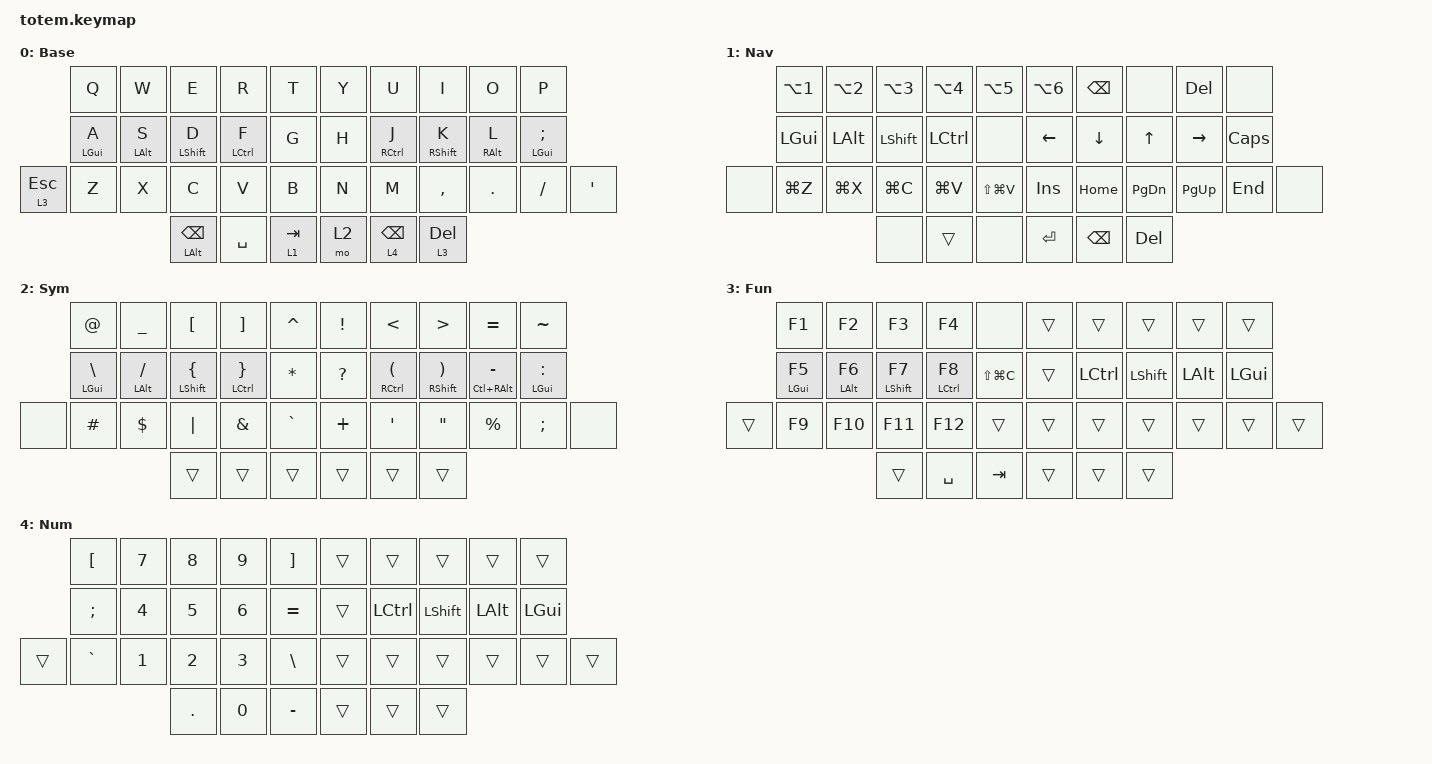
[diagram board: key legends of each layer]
//
//
//                                                        ▀▀▀▀▀     ▀▀▀▀▀          ▀▀█▀▀
//                                                        ▄▀▀▀▄  ▄  ▄▀▀▀▄  ▄  ▄▀▀▀▄  █  ▄▀▀▀▄
//                                                        █   █  █  █   █  █  █   █  █  █   █
//                                                         ▀▀▀   █   ▀▀▀   █   ▀▀▀   ▀   ▀▀▀
//                                                               █      ▄▄▄█▄▄▄    █   █
//                                                               ▀      █  █  █     █▄█
//                                                             ▀▀▀▀▀    █  █  █      ▀
//                                                                      ▀  ▀  ▀
//
// ▄▄▄▄▄▄▄▄▄▄▄▄▄▄▄▄▄▄▄▄▄▄▄▄▄▄▄▄▄▄▄▄▄▄▄▄▄▄▄▄▄▄▄▄▄▄▄▄▄▄▄▄▄▄▄▄▄▄▄▄▄▄▄▄▄▄▄▄▄▄▄▄▄▄▄▄▄▄▄▄▄▄▄▄▄▄▄▄▄▄▄▄▄▄▄▄▄▄▄▄▄▄▄▄▄▄▄▄▄▄▄▄▄▄▄▄▄▄▄▄▄▄▄▄▄▄▄▄▄▄▄▄▄▄▄▄▄▄▄▄▄▄▄▄▄▄▄▄▄

#include <behaviors.dtsi>
#include <dt-bindings/zmk/keys.h>

#define Base        0
#define Nav         1
#define Sym         2
#define Fun         3
#define Num         4

&mt {
    quick-tap-ms = <100>;
    global-quick-tap;
    flavor = "tap-preferred";
    tapping-term-ms = <170>;
};

&lt {
    tapping-term-ms = <240>;
    flavor = "balanced";
    quick-tap-ms = <150>;
};

/ {
    behaviors {
        hm: homerow_mods {
            compatible = "zmk,behavior-hold-tap";
            label = "HOMEROW_MODS";
            #binding-cells = <2>;
            flavor = "tap-preferred";
            tapping-term-ms = <200>;
            quick-tap-ms = <125>;
            global-quick-tap;
            bindings = <&kp>, <&kp>;
        };
    };

    combos {
        compatible = "zmk,combos";

        enter-combo {
            bindings = <&kp ENTER>;
            key-positions = <23 24>;
            layers = <0>;
        };
    };

    keymap {
        compatible = "zmk,keymap";

        Base {
            display-name = "Base";
            bindings = <
              &kp Q       &kp W       &kp E                   &kp R        &kp T        &kp Y  &kp U            &kp I              &kp O       &kp P
              &hm LGUI A  &hm LALT S  &hm LEFT_SHIFT D        &hm LCTRL F  &kp G        &kp H  &hm RCTRL J      &hm RIGHT_SHIFT K  &hm RALT L  &hm LEFT_GUI SEMICOLON
&lt 3 ESCAPE  &kp Z       &kp X       &kp C                   &kp V        &kp B        &kp N  &kp M            &kp COMMA          &kp DOT     &kp SLASH               &kp APOSTROPHE
                                      &mt LEFT_ALT BACKSPACE  &kp SPACE    &lt 1 TAB    &mo 2  &lt 4 BACKSPACE  &lt 3 DELETE
            >;
        };

        Nav {
            display-name = "Nav";
            bindings = <
       &kp LA(NUMBER_1)  &kp LA(N2)    &kp LA(N3)  &kp LA(N4)  &kp LA(N5)       &kp LA(N6)      &kp BACKSPACE   &none          &kp DELETE       &none
       &kp LGUI          &kp LEFT_ALT  &kp LSHIFT  &kp LCTRL   &none            &kp LEFT_ARROW  &kp DOWN_ARROW  &kp UP_ARROW   &kp RIGHT_ARROW  &kp CAPSLOCK
&none  &kp LG(Z)         &kp LG(X)     &kp LG(C)   &kp LG(V)   &kp LS(LG(V))    &kp INSERT      &kp HOME        &kp PAGE_DOWN  &kp PAGE_UP      &kp END       &none
                                       &none       &trans      &none            &kp ENTER       &kp BACKSPACE   &kp DELETE
            >;
        };

        Sym {
            display-name = "Sym";
            bindings = <
       &kp AT              &kp UNDERSCORE      &kp LBKT                   &kp RBKT               &kp CARET       &kp EXCLAMATION  &kp LESS_THAN               &kp GREATER_THAN                   &kp EQUAL                &kp TILDE
       &hm LGUI BACKSLASH  &hm LEFT_ALT SLASH  &hm LEFT_SHIFT LEFT_BRACE  &hm LCTRL RIGHT_BRACE  &kp ASTERISK    &kp QUESTION     &hm RCTRL LEFT_PARENTHESIS  &hm RIGHT_SHIFT RIGHT_PARENTHESIS  &hm LC(RIGHT_ALT) MINUS  &hm LGUI COLON
&none  &kp HASH            &kp DOLLAR          &kp PIPE                   &kp AMPERSAND          &kp GRAVE       &kp PLUS         &kp SQT                     &kp DOUBLE_QUOTES                  &kp PERCENT              &kp SEMICOLON   &none
                                               &trans                     &trans                 &trans          &trans           &trans                      &trans
            >;
        };

        Fun {
            display-name = "Fun";
            bindings = <
        &kp F1       &kp F2           &kp F3             &kp F4        &none            &trans  &trans     &trans          &trans        &trans
        &hm LGUI F5  &hm LEFT_ALT F6  &hm LEFT_SHIFT F7  &hm LCTRL F8  &kp LS(LG(C))    &trans  &kp LCTRL  &kp LEFT_SHIFT  &kp LEFT_ALT  &kp LEFT_GUI
&trans  &kp F9       &kp F10          &kp F11            &kp F12       &trans           &trans  &trans     &trans          &trans        &trans        &trans
                                      &trans             &kp SPACE     &kp TAB          &trans  &trans     &trans
            >;
        };

        Num {
            bindings = <
        &kp LBKT   &kp N7  &kp N8   &kp N9  &kp RBKT     &trans  &trans     &trans     &trans    &trans
        &kp SEMI   &kp N4  &kp N5   &kp N6  &kp EQUAL    &trans  &kp LCTRL  &kp LSHFT  &kp LALT  &kp LGUI
&trans  &kp GRAVE  &kp N1  &kp N2   &kp N3  &kp BSLH     &trans  &trans     &trans     &trans    &trans    &trans
                           &kp DOT  &kp N0  &kp MINUS    &trans  &trans     &trans
            >;
        };
    };
};
